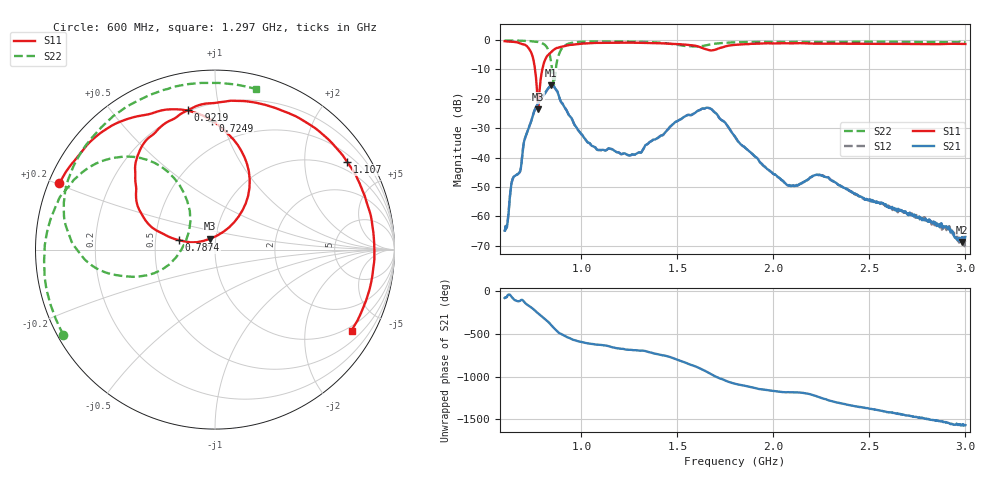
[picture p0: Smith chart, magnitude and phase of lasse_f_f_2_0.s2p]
#  HZ  S  RI  R  50.00
! Rohde & Schwarz ZVB8 2Ports - Version 2.81 - 1145.1010k08 SN: 100113
! Date: 2016-05-04 02:49:43
! Measurements: S11 S21 S12 S22
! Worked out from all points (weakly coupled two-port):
!   1000 points, 600 MHz to 3 GHz, reference 50 ohm
!   highest |S21| = -15.53 dB at 842.6 MHz (marker M1); lowest = -68.6 dB at 2.981 GHz (marker M2)
!   lowest |S11| = -23.6 dB at 775.4 MHz (marker M3), VSWR 1.14, Z = 47 + j5.68 ohm
!   |S11| at or under -10 dB: 758.2 MHz to 796.8 MHz (38.61 MHz wide, 4.97 % of centre)
!   |S22| runs from -15.4 to -0.3 dB; largest |S21 - S12| = 0.0016
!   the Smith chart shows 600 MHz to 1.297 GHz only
!   S11 on the Smith chart (normalised r, x): 600 MHz: 0.03, +0.20; 724.9 MHz: 0.31, +0.93; 787.4 MHz: 0.66, +0.07; 921.9 MHz: 0.19, +0.81; 1.107 GHz: 0.71, +3.17; 1.297 GHz: 0.84, -3.46
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6e8  -0.8666 0.3695  9.64e-05 -0.000568  0.000112 -0.000574  -0.8445 -0.4759
6.408408e8  -0.7177 0.5771  0.000766 -0.00418  0.000767 -0.00414  -0.9106 -0.3225
7.249249e8  -0.0146 0.7182  -0.0311 -0.00489  -0.031 -0.00541  -0.9466 0.0354
7.753754e8  -0.0274 0.0601  -0.0119 0.0836  -0.0134 0.0838  -0.8637 0.2935
7.873874e8  -0.1999 0.0524  0.0246 0.0944  0.0238 0.0937  -0.8083 0.3583
8.426426e8  -0.444 0.4236  0.1332 -0.1013  0.1334 -0.101  -0.1965 0.3574
8.594595e8  -0.4247 0.5393  0.0313 -0.1532  0.0321 -0.1526  -0.1866 0.00057
8.762763e8  -0.3519 0.6356  -0.054 -0.1168  -0.0535 -0.117  -0.4571 -0.1517
9.219219e8  -0.1491 0.7783  -0.0637 -0.00641  -0.0635 -0.00677  -0.8187 0.0961
1.001201e9  0.2795 0.8066  -0.0138 0.0204  -0.014 0.0202  -0.7611 0.5162
1.106907e9  0.7361 0.4883  0.000183 0.0135  0.000116 0.0134  -0.4645 0.8112
1.296697e9  0.7611 -0.4507  0.0109 0.00509  0.0109 0.00521  0.2286 0.8946
1.4e9  0.3789 -0.7821  0.0206 -0.00691  0.0206 -0.00683  0.5737 0.6869
1.657057e9  -0.4926 -0.4616  -0.0459 0.0529  -0.0465 0.0525  0.8118 0.00499
1.801201e9  -0.7785 -0.2513  0.0222 -0.00199  0.0222 -0.00186  0.7408 -0.5099
2.072673e9  -0.4973 0.7113  -0.000784 -0.00331  -0.000761 -0.00331  -0.0601 -0.911
2.2e9  0.00116 0.8562  -0.00319 -0.00352  -0.00315 -0.00348  -0.422 -0.8108
2.421021e9  0.7602 0.387  -0.000198 0.00244  -0.000258 0.00239  -0.822 -0.4101
2.601201e9  0.7609 -0.3728  0.00135 0.000565  0.00138 0.000635  -0.9176 0.00352
2.786186e9  0.1815 -0.8214  0.0006 -0.000679  0.000573 -0.000708  -0.8111 0.4083
2.980781e9  -0.5025 -0.6826  -0.000231 -0.000289  -0.000226 -0.000323  -0.533 0.7255
3e9  -0.5556 -0.6376  -0.000276 -0.000369  -0.000221 -0.00023  -0.4955 0.7526
